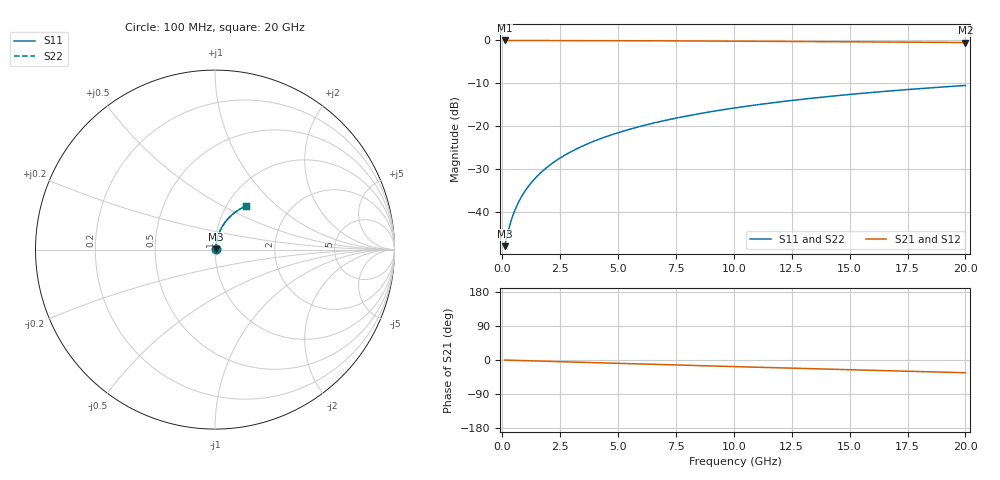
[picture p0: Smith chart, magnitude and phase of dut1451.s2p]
! Touchstone file exported from HFSS 2026.1.0
!  File:  C:/ffzhzh/LocalFiles/Ansys_Project_Files/temp_train_BSMRDL_1451_1783180711_51560.aedt
!  Generated:  11:59:52 PM Jul  4, 2026
!  Design:  BSMRDL
!  Project:  temp_train_BSMRDL_1451_1783180711_51560
! Variables:
!  h_bsmrdl = 3.08um
!  h_ox = 20um
!  h_rdl = 5um
!  h_sub = 80um
!  h_tmrdl = 5um
!  h_tsv = 80um
!  h_via = 3um
!  l_bsmrdl = 496.38um
!  l_sub = 896.38um
!  l_tmrdl = 200um
!  m_sub = 200um
!  pitch = 34.63um
!  r_tsv = 6um
!  s_tmrdl = 10um
!  w_bsmrdl = 16.71um
!  w_sub = 500um
!  w_tmrdl = 12um
!  x_tsv_center1 = 206um
!  x_tsv_center2 = 719.09um
!  x_tsv_center3 = 931.09um
!  x_tsv_center4 = 1444.18um
!  x_tsv_center5 = 1656.18um
!  x_tsv_center6 = 2169.27um
# GHz S MA R 50.000000
! Terminal data exported
! Port[1] = BSM_RDL1_1_T1
! Port[2] = BSM_RDL1_1_T2
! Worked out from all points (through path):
!   200 points, 100 MHz to 20 GHz, reference 50 ohm
!   highest |S21| = -0.03 dB at 100 MHz (marker M1); lowest = -0.5 dB at 20 GHz (marker M2)
!   group delay of S21, straight-line fit = 4.67 ps
!   lowest |S11| = -47.8 dB at 100 MHz (marker M3), VSWR 1.01, Z = 50.4 + j0.191 ohm
!   |S11| at or under -10 dB: start of sweep to end of sweep
!   |S22| runs from -47.8 to -10.5 dB; largest |S21 - S12| = 3.5e-15
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0.1  0.004061 27.8  0.9964 -0.2  0.9964 -0.2  0.004061 27.8
! Gamma 0 0 0 0
! Port Impedance 50 0 50 0
0.3  0.006759 55.1  0.9962 -0.6  0.9962 -0.6  0.006759 55.1
0.4  0.008332 61.0  0.996 -0.7  0.996 -0.7  0.008332 61.0
0.5  0.009931 64.9  0.9959 -0.9  0.9959 -0.9  0.009931 64.9
0.6  0.01154 67.7  0.9958 -1.1  0.9958 -1.1  0.01154 67.7
0.8  0.01478 71.5  0.9956 -1.4  0.9956 -1.4  0.01478 71.5
1  0.01804 74.0  0.9954 -1.8  0.9954 -1.8  0.01804 74.0
1.2  0.02133 75.6  0.9953 -2.2  0.9953 -2.2  0.02133 75.6
1.4  0.02464 76.8  0.9951 -2.5  0.9951 -2.5  0.02464 76.8
1.7  0.02963 77.9  0.9949 -3.0  0.9949 -3.0  0.02963 77.9
2.2  0.03799 78.8  0.9945 -3.9  0.9945 -3.9  0.03799 78.8
2.8  0.04803 79.0  0.9939 -5.0  0.9939 -5.0  0.04803 79.1
3.5  0.05972 78.7  0.993 -6.2  0.993 -6.2  0.05971 78.8
4.2  0.07134 78.1  0.9919 -7.4  0.9919 -7.4  0.07134 78.1
5  0.08451 77.2  0.9905 -8.8  0.9905 -8.8  0.08451 77.2
5.9  0.09917 75.9  0.9888 -10.4  0.9888 -10.4  0.09917 76.0
6.8  0.1136 74.6  0.9868 -11.9  0.9868 -11.9  0.1136 74.7
8.3  0.1373 72.3  0.983 -14.5  0.983 -14.5  0.1373 72.4
10.1  0.1648 69.5  0.9779 -17.6  0.9779 -17.6  0.1648 69.5
13.4  0.2129 64.3  0.9672 -23.0  0.9672 -23.0  0.2129 64.3
16.7  0.2577 59.2  0.9553 -28.4  0.9553 -28.4  0.2576 59.2
20  0.2989 54.1  0.9425 -33.6  0.9425 -33.6  0.2989 54.2
